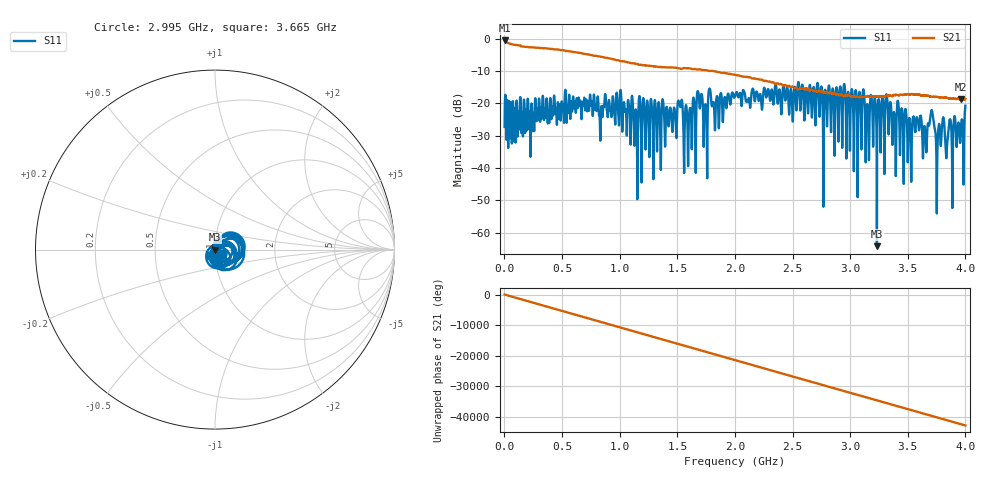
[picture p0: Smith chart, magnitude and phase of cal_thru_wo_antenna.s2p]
!Created with skrf (http://scikit-rf.org).
# GHz S RI R 50.0
!freq ReS11 ImS11 ReS21 ImS21 ReS12 ImS12 ReS22 ImS22
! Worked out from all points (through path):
!   4000 points, 1 MHz to 4 GHz, reference 50 ohm
!   highest |S21| = -0.49 dB at 1 MHz (marker M1); lowest = -18.8 dB at 3.958 GHz (marker M2)
!   lowest |S11| = -64.2 dB at 3.232 GHz (marker M3), VSWR 1.00, Z = 50 - j0.0563 ohm
!   |S11| at or under -10 dB: start of sweep to end of sweep
!   S12 and S22 are empty: the file has one direction only
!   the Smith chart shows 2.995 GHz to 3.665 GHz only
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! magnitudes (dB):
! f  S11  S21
! 1 MHz  -27.3  -0.5
! 668 MHz  -24.9  -4.4
! 992 MHz  -26.0  -6.7
! 1.14 GHz  -21.9  -7.7
! 1.186 GHz  -29.4  -8.0
! 1.334 GHz  -20.5  -8.7
! 1.523 GHz  -20.7  -9.2
! 1.609 GHz  -21.5  -9.2
! 1.692 GHz  -20.4  -9.5
! 1.744 GHz  -20.3  -9.7
! 1.785 GHz  -15.8  -9.9
! 2.001 GHz  -17.8  -11.1
! 2.667 GHz  -24.1  -15.7
! 3.232 GHz  -64.2  -17.9
! 3.334 GHz  -29.6  -17.6
! 3.516 GHz  -25.2  -17.2
! 3.597 GHz  -28.3  -17.3
! 3.647 GHz  -27.2  -17.6
! 3.707 GHz  -22.1  -17.9
! 3.748 GHz  -36.2  -17.9
! 3.958 GHz  -30.2  -18.8
! 4 GHz  -20.7  -18.5
